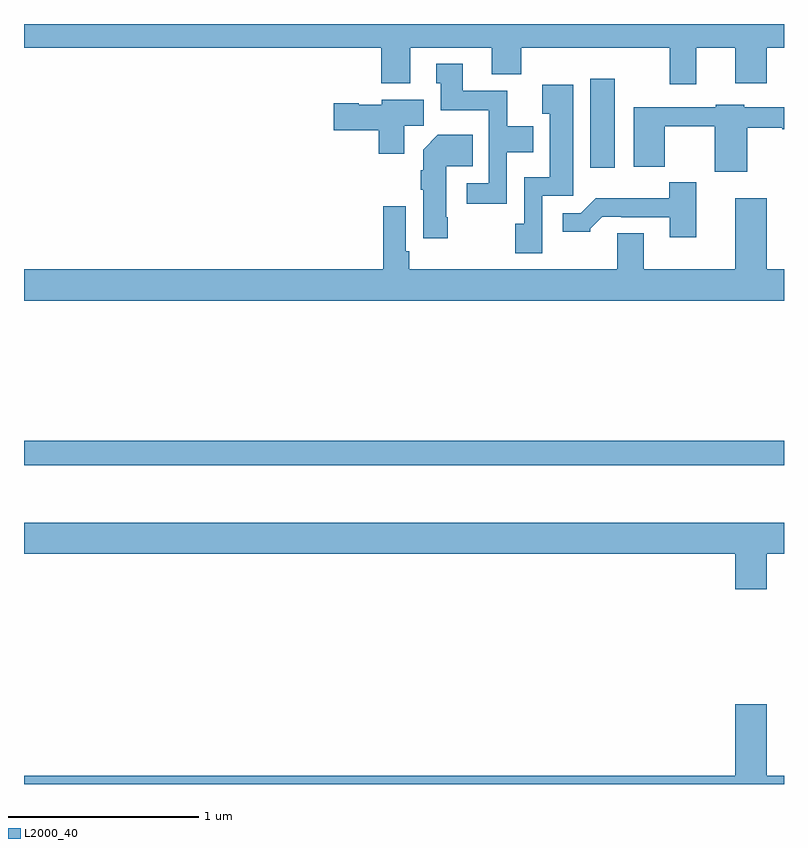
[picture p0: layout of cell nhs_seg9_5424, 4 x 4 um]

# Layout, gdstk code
import gdstk
lib = gdstk.Library(unit=1e-6, precision=1e-09)
def R(c, l, rs):  # rectangles x0, y0, x1, y1
    for r in rs: c.add(gdstk.rectangle(r[:2], r[2:], *l))
def P(c, l, *ps):  # polygons
    for p in ps: c.add(gdstk.Polygon(p, *l))
L2000_40 = (2000, 40)

nhs_seg9_5424 = lib.new_cell('nhs_seg9_5424')
R(nhs_seg9_5424, L2000_40, [(425,1238.178,429,1238.306), (427.979,1239.744,428.11,1240.213)])
P(nhs_seg9_5424, L2000_40, [(425,1240.376),(426.881,1240.376),(426.881,1240.187),(427.033,1240.187),(427.033,1240.376),(427.463,1240.376),(427.463,1240.235),(427.616,1240.235),(427.616,1240.376),(428.399,1240.376),(428.399,1240.182),(428.539,1240.182),(428.539,1240.376),(428.744,1240.376),(428.744,1240.188),(428.908,1240.188),(428.908,1240.376),(429,1240.376),(429,1240.5),(425,1240.5)],
  [(427.542,1239.824),(427.681,1239.824),(427.681,1239.962),(427.544,1239.962),(427.544,1240.15),(427.309,1240.15),(427.309,1240.291),(427.169,1240.291),(427.169,1240.188),(427.193,1240.188),(427.193,1240.046),(427.446,1240.046),(427.446,1239.663),(427.329,1239.663),(427.329,1239.555),(427.542,1239.555)],
  [(427.728,1239.597),(427.891,1239.597),(427.891,1240.18),(427.728,1240.18),(427.728,1240.028),(427.766,1240.028),(427.766,1239.694),(427.632,1239.694),(427.632,1239.45),(427.585,1239.45),(427.585,1239.294),(427.728,1239.294)],
  [(427,1239.964),(427.105,1239.964),(427.105,1240.102),(426.882,1240.102),(426.882,1240.075),(426.762,1240.075),(426.762,1240.083),(426.63,1240.083),(426.63,1239.941),(426.866,1239.941),(426.866,1239.816),(427,1239.816)],
  [(428.807,1239.954),(428.99,1239.954),(428.99,1239.946),(429,1239.946),(429,1240.062),(428.79,1240.062),(428.79,1240.075),(428.64,1240.075),(428.64,1240.062),(428.21,1240.062),(428.21,1239.749),(428.372,1239.749),(428.372,1239.961),(428.636,1239.961),(428.636,1239.723),(428.807,1239.723)],
  [(427.23,1239.484),(427.222,1239.484),(427.222,1239.752),(427.361,1239.752),(427.361,1239.916),(427.178,1239.916),(427.1,1239.838),(427.1,1239.731),(427.088,1239.731),(427.088,1239.628),(427.1,1239.628),(427.1,1239.372),(427.23,1239.372)],
  [(428.539,1239.667),(428.397,1239.667),(428.397,1239.583),(428.008,1239.583),(427.929,1239.504),(427.836,1239.504),(427.836,1239.407),(427.98,1239.407),(427.98,1239.422),(428.044,1239.486),(428.143,1239.486),(428.143,1239.483),(428.399,1239.483),(428.399,1239.378),(428.539,1239.378)],
  [(429,1239.208),(428.908,1239.208),(428.908,1239.583),(428.744,1239.583),(428.744,1239.208),(428.263,1239.208),(428.263,1239.398),(428.123,1239.398),(428.123,1239.208),(427.028,1239.208),(427.028,1239.304),(427.008,1239.304),(427.008,1239.541),(426.892,1239.541),(426.892,1239.208),(425,1239.208),(425,1239.044),(429,1239.044)],
  [(428.908,1237.712),(429,1237.712),(429,1237.876),(425,1237.876),(425,1237.712),(428.744,1237.712),(428.744,1237.524),(428.908,1237.524)],
  [(429,1236.544),(428.908,1236.544),(428.908,1236.919),(428.744,1236.919),(428.744,1236.544),(425,1236.544),(425,1236.5),(429,1236.5)])

lib.write_gds('nhs_seg9_5424.gds')
